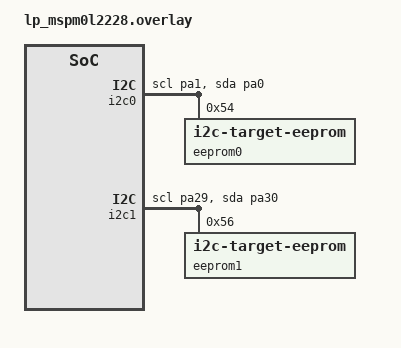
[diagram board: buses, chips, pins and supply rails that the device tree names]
/*
 * Copyright (c) 2026 Texas Instruments Incorporated
 *
 * SPDX-License-Identifier: Apache-2.0
 */

/*
 * I2C loopback wiring for LP-MSPM0L2228:
 *
 *   i2c0 (controller): PA1  = SCL (BoosterPack #9),  PA0  = SDA (BoosterPack #10)
 *   i2c1 (target):     PA29 = SCL (BoosterPack #35), PA30 = SDA (BoosterPack #36)
 *
 * Wire BoosterPack #9  <-> #35 (SCL) and BoosterPack #10 <-> #36 (SDA).
 * Internal pull-ups are enabled on all four pins.
 */

&i2c0_scl_pa1 {
	input-enable;
	drive-open-drain;
	bias-pull-up;
};

&i2c0_sda_pa0 {
	input-enable;
	drive-open-drain;
	bias-pull-up;
};

&i2c1_scl_pa29 {
	input-enable;
	drive-open-drain;
	bias-pull-up;
};

&i2c1_sda_pa30 {
	input-enable;
	drive-open-drain;
	bias-pull-up;
};

&i2c0 {
	pinctrl-0 = <&i2c0_scl_pa1 &i2c0_sda_pa0>;
	pinctrl-names = "default";
	status = "okay";

	eeprom0: eeprom@54 {
		compatible = "zephyr,i2c-target-eeprom";
		reg = <0x54>;
		address-width = <8>;
		size = <256>;
	};
};

&i2c1 {
	pinctrl-0 = <&i2c1_scl_pa29 &i2c1_sda_pa30>;
	pinctrl-names = "default";
	status = "okay";

	eeprom1: eeprom@56 {
		compatible = "zephyr,i2c-target-eeprom";
		reg = <0x56>;
		address-width = <8>;
		size = <256>;
	};
};
